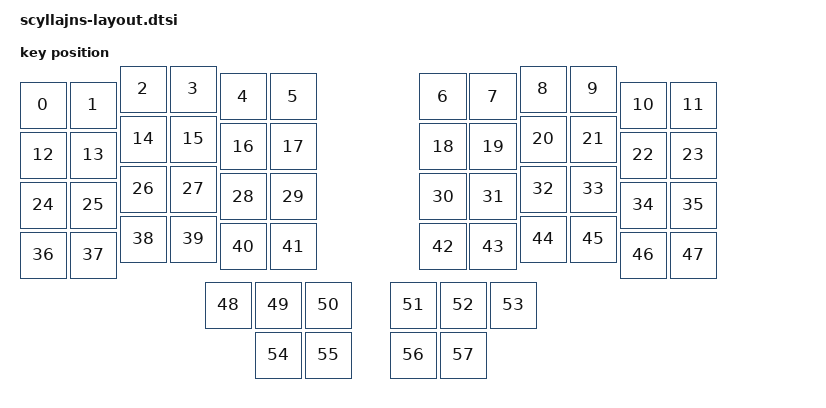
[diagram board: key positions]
#include <physical_layouts.dtsi>

/ {
        scyllajns_layout: scyllajns_layout {
        compatible = "zmk,physical-layout";
        display-name = "scyllajns";
        transform = <&default_transform>;

        keys  //                     w   h    x    y     rot    rx    ry
          = <&key_physical_attrs 100 100    0   32       0     0     0>
            , <&key_physical_attrs 100 100  100   32       0     0     0>
            , <&key_physical_attrs 100 100  200    0       0     0     0>
            , <&key_physical_attrs 100 100  300    0       0     0     0>
            , <&key_physical_attrs 100 100  400   15       0     0     0>
            , <&key_physical_attrs 100 100  500   15       0     0     0>
            , <&key_physical_attrs 100 100  800   15       0     0     0>
            , <&key_physical_attrs 100 100  900   15       0     0     0>
            , <&key_physical_attrs 100 100 1000    0       0     0     0>
            , <&key_physical_attrs 100 100 1100    0       0     0     0>
            , <&key_physical_attrs 100 100 1200   32       0     0     0>
            , <&key_physical_attrs 100 100 1300   32       0     0     0>
            , <&key_physical_attrs 100 100    0  132       0     0     0>
            , <&key_physical_attrs 100 100  100  132       0     0     0>
            , <&key_physical_attrs 100 100  200  100       0     0     0>
            , <&key_physical_attrs 100 100  300  100       0     0     0>
            , <&key_physical_attrs 100 100  400  115       0     0     0>
            , <&key_physical_attrs 100 100  500  115       0     0     0>
            , <&key_physical_attrs 100 100  800  115       0     0     0>
            , <&key_physical_attrs 100 100  900  115       0     0     0>
            , <&key_physical_attrs 100 100 1000  100       0     0     0>
            , <&key_physical_attrs 100 100 1100  100       0     0     0>
            , <&key_physical_attrs 100 100 1200  132       0     0     0>
            , <&key_physical_attrs 100 100 1300  132       0     0     0>
            , <&key_physical_attrs 100 100    0  232       0     0     0>
            , <&key_physical_attrs 100 100  100  232       0     0     0>
            , <&key_physical_attrs 100 100  200  200       0     0     0>
            , <&key_physical_attrs 100 100  300  200       0     0     0>
            , <&key_physical_attrs 100 100  400  215       0     0     0>
            , <&key_physical_attrs 100 100  500  215       0     0     0>
            , <&key_physical_attrs 100 100  800  215       0     0     0>
            , <&key_physical_attrs 100 100  900  215       0     0     0>
            , <&key_physical_attrs 100 100 1000  200       0     0     0>
            , <&key_physical_attrs 100 100 1100  200       0     0     0>
            , <&key_physical_attrs 100 100 1200  232       0     0     0>
            , <&key_physical_attrs 100 100 1300  232       0     0     0>
            , <&key_physical_attrs 100 100    0  332       0     0     0>
            , <&key_physical_attrs 100 100  100  332       0     0     0>
            , <&key_physical_attrs 100 100  200  300       0     0     0>
            , <&key_physical_attrs 100 100  300  300       0     0     0>
            , <&key_physical_attrs 100 100  400  315       0     0     0>
            , <&key_physical_attrs 100 100  500  315       0     0     0>
            , <&key_physical_attrs 100 100  800  315       0     0     0>
            , <&key_physical_attrs 100 100  900  315       0     0     0>
            , <&key_physical_attrs 100 100 1000  300       0     0     0>
            , <&key_physical_attrs 100 100 1100  300       0     0     0>
            , <&key_physical_attrs 100 100 1200  332       0     0     0>
            , <&key_physical_attrs 100 100 1300  332       0     0     0>
            , <&key_physical_attrs 100 100  370  432       0     0     0>
            , <&key_physical_attrs 100 100  470  432       0     0     0>
            , <&key_physical_attrs 100 100  570  432       0     0     0>
            , <&key_physical_attrs 100 100  740  432       0     0     0>
            , <&key_physical_attrs 100 100  840  432       0     0     0>
            , <&key_physical_attrs 100 100  940  432       0     0     0>
            , <&key_physical_attrs 100 100  470  532       0     0     0>
            , <&key_physical_attrs 100 100  570  532       0     0     0>
            , <&key_physical_attrs 100 100  740  532       0     0     0>
            , <&key_physical_attrs 100 100  840  532       0     0     0>
            ;
    };
};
